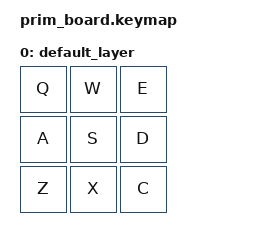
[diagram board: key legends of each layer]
#include <behaviors.dtsi>
#include <dt-bindings/zmk/keys.h>

/ {
    keymap {
        compatible = "zmk,keymap";

        default_layer {
            bindings = <
                &kp Q &kp W &kp E
                &kp A &kp S &kp D
                &kp Z &kp X &kp C
            >;
        };
    };
};
